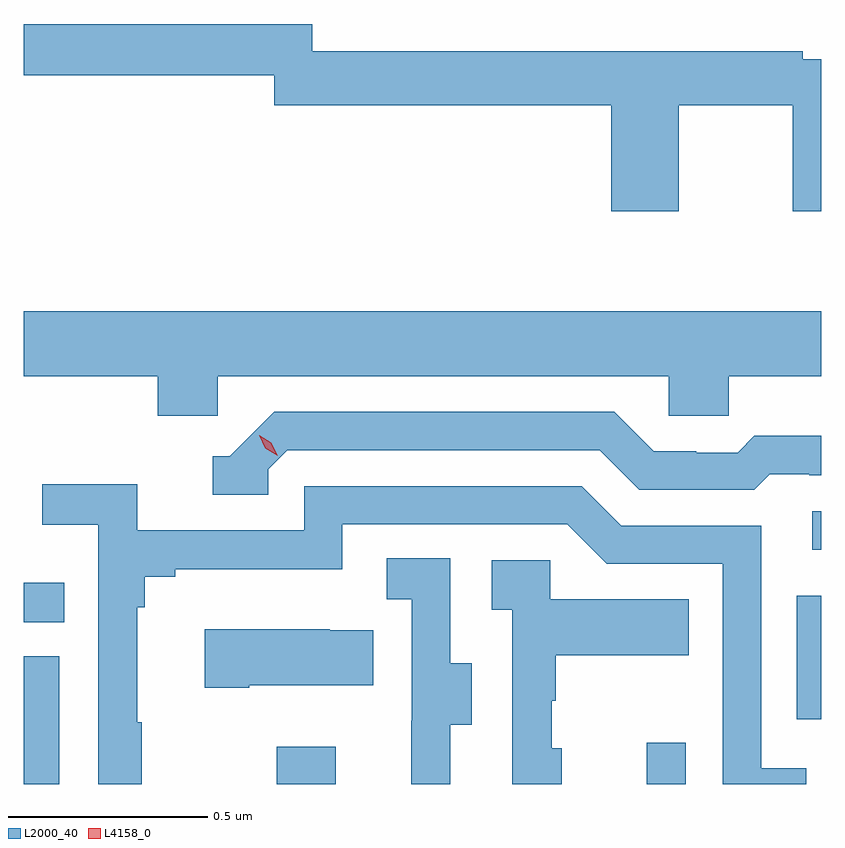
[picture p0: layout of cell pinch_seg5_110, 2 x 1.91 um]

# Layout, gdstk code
import gdstk
lib = gdstk.Library(unit=1e-6, precision=1e-09)
def R(c, l, rs):  # rectangles x0, y0, x1, y1
    for r in rs: c.add(gdstk.rectangle(r[:2], r[2:], *l))
def P(c, l, *ps):  # polygons
    for p in ps: c.add(gdstk.Polygon(p, *l))
L2000_40 = (2000, 40)
L4158_0 = (4158, 0)

pinch_seg5_110 = lib.new_cell('pinch_seg5_110')
R(pinch_seg5_110, L2000_40, [(1030.325,875.718,1030.414,876.039), (1030.96,875.718,1031.107,875.812), (1031.888,875.718,1031.985,875.821), (1032.264,875.88,1032.325,876.19), (1030.325,876.124,1030.427,876.223), (1032.303,876.306,1032.325,876.402)])
P(pinch_seg5_110, L2000_40, [(1031.968,877.42),(1032.254,877.42),(1032.254,877.155),(1032.325,877.155),(1032.325,877.536),(1032.278,877.536),(1032.278,877.556),(1031.049,877.556),(1031.049,877.624),(1030.325,877.624),(1030.325,877.495),(1030.953,877.495),(1030.953,877.42),(1031.798,877.42),(1031.798,877.155),(1031.968,877.155)],
  [(1030.812,876.74),(1031.943,876.74),(1031.943,876.642),(1032.093,876.642),(1032.093,876.74),(1032.325,876.74),(1032.325,876.904),(1030.325,876.904),(1030.325,876.74),(1030.661,876.74),(1030.661,876.642),(1030.812,876.642)],
  [(1030.938,876.507),(1030.986,876.555),(1031.769,876.555),(1031.868,876.456),(1032.157,876.456),(1032.196,876.495),(1032.295,876.495),(1032.295,876.492),(1032.325,876.492),(1032.325,876.592),(1032.157,876.592),(1032.115,876.549),(1032.012,876.549),(1032.012,876.552),(1031.905,876.552),(1031.806,876.651),(1030.953,876.651),(1030.842,876.54),(1030.799,876.54),(1030.799,876.444),(1030.938,876.444)],
  [(1030.621,875.873),(1030.609,875.873),(1030.609,876.161),(1030.628,876.161),(1030.628,876.238),(1030.705,876.238),(1030.705,876.257),(1031.124,876.257),(1031.124,876.369),(1031.688,876.369),(1031.787,876.27),(1032.078,876.27),(1032.078,875.718),(1032.287,875.718),(1032.287,875.757),(1032.174,875.757),(1032.174,876.366),(1031.824,876.366),(1031.725,876.465),(1031.028,876.465),(1031.028,876.354),(1030.61,876.354),(1030.61,876.47),(1030.371,876.47),(1030.371,876.368),(1030.512,876.368),(1030.512,875.718),(1030.621,875.718)],
  [(1031.395,875.866),(1031.449,875.866),(1031.449,876.021),(1031.394,876.021),(1031.394,876.284),(1031.235,876.284),(1031.235,876.181),(1031.298,876.181),(1031.298,875.877),(1031.297,875.877),(1031.297,875.718),(1031.395,875.718)],
  [(1031.674,875.808),(1031.649,875.808),(1031.649,875.927),(1031.659,875.927),(1031.659,876.041),(1031.993,876.041),(1031.993,876.181),(1031.646,876.181),(1031.646,876.279),(1031.499,876.279),(1031.499,876.155),(1031.55,876.155),(1031.55,875.718),(1031.674,875.718)],
  [(1030.891,875.966),(1031.201,875.966),(1031.201,876.103),(1031.093,876.103),(1031.093,876.106),(1030.779,876.106),(1030.779,875.959),(1030.891,875.959)])
P(pinch_seg5_110, L4158_0, [(1030.962,876.541),(1030.931,876.56),(1030.915,876.593),(1030.915,876.593),(1030.915,876.593),(1030.946,876.574),(1030.962,876.541),(1030.962,876.541)])

lib.write_gds('pinch_seg5_110.gds')
